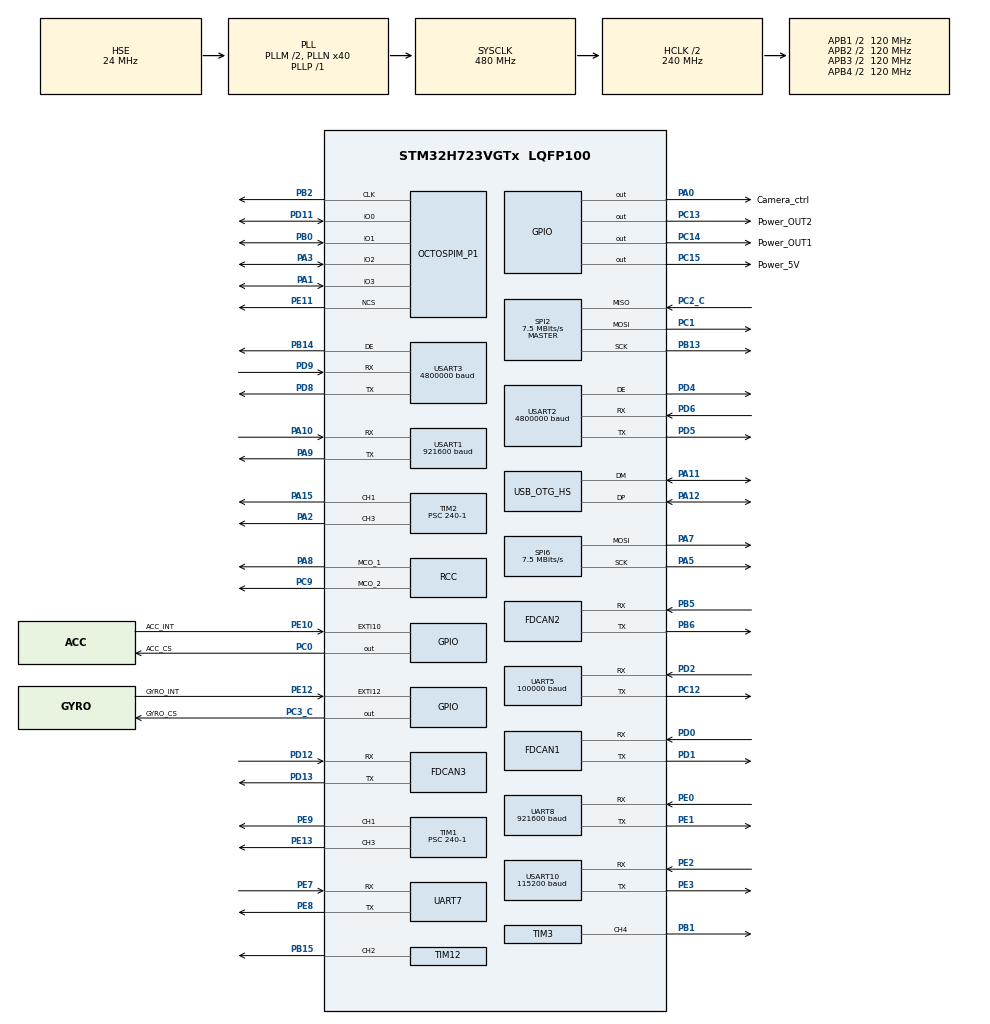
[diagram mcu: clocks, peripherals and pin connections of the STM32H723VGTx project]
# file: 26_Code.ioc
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CORTEX_M7.AccessPermission-Cortex_Memory_Protection_Unit_Region0_Settings=MPU_REGION_PRIV_RO
CORTEX_M7.AccessPermission-Cortex_Memory_Protection_Unit_Region1_Settings=MPU_REGION_FULL_ACCESS
CORTEX_M7.BaseAddress-Cortex_Memory_Protection_Unit_Region0_Settings=0x08000000
CORTEX_M7.BaseAddress-Cortex_Memory_Protection_Unit_Region1_Settings=0x20000000
CORTEX_M7.Enable-Cortex_Memory_Protection_Unit_Region0_Settings=MPU_REGION_ENABLE
CORTEX_M7.Enable-Cortex_Memory_Protection_Unit_Region1_Settings=MPU_REGION_ENABLE
CORTEX_M7.IsCacheable-Cortex_Memory_Protection_Unit_Region0_Settings=MPU_ACCESS_CACHEABLE
CORTEX_M7.MPU_Control=MPU_PRIVILEGED_DEFAULT
CORTEX_M7.Number-Cortex_Memory_Protection_Unit_Region1_Settings=MPU_REGION_NUMBER1
CORTEX_M7.Number-Cortex_Memory_Protection_Unit_Region2_Settings=MPU_REGION_NUMBER2
CORTEX_M7.Number-Cortex_Memory_Protection_Unit_Region3_Settings=MPU_REGION_NUMBER3
CORTEX_M7.Number-Cortex_Memory_Protection_Unit_Region4_Settings=MPU_REGION_NUMBER4
CORTEX_M7.Size-Cortex_Memory_Protection_Unit_Region0_Settings=MPU_REGION_SIZE_1MB
CORTEX_M7.Size-Cortex_Memory_Protection_Unit_Region1_Settings=MPU_REGION_SIZE_128MB
CORTEX_M7.SubRegionDisable-Cortex_Memory_Protection_Unit_Region1_Settings=0xEE
CORTEX_M7.TypeExtField-Cortex_Memory_Protection_Unit_Region0_Settings=MPU_TEX_LEVEL1
CORTEX_M7.TypeExtField-Cortex_Memory_Protection_Unit_Region1_Settings=MPU_TEX_LEVEL1
Dma.Request0=SPI2_RX
Dma.Request1=SPI2_TX
Dma.Request10=USART2_TX
Dma.Request11=USART1_RX
Dma.Request12=USART1_TX
Dma.Request13=UART8_RX
Dma.Request2=UART5_RX
Dma.Request3=UART7_RX
Dma.Request4=UART7_TX
Dma.Request5=USART10_RX
Dma.Request6=USART10_TX
Dma.Request7=USART3_RX
Dma.Request8=USART3_TX
Dma.Request9=USART2_RX
Dma.SPI2_RX.0.Direction=DMA_PERIPH_TO_MEMORY
Dma.SPI2_RX.0.EventEnable=DISABLE
Dma.SPI2_RX.0.FIFOMode=DMA_FIFOMODE_DISABLE
Dma.SPI2_RX.0.Instance=DMA1_Stream0
Dma.SPI2_RX.0.MemDataAlignment=DMA_MDATAALIGN_BYTE
Dma.SPI2_RX.0.MemInc=DMA_MINC_ENABLE
Dma.SPI2_RX.0.Mode=DMA_NORMAL
Dma.SPI2_RX.0.PeriphDataAlignment=DMA_PDATAALIGN_BYTE
Dma.SPI2_RX.0.PeriphInc=DMA_PINC_DISABLE
Dma.SPI2_RX.0.Polarity=HAL_DMAMUX_REQ_GEN_RISING
Dma.SPI2_RX.0.Priority=DMA_PRIORITY_VERY_HIGH
Dma.SPI2_RX.0.RequestNumber=1
Dma.SPI2_RX.0.SignalID=NONE
Dma.SPI2_RX.0.SyncEnable=DISABLE
Dma.SPI2_RX.0.SyncPolarity=HAL_DMAMUX_SYNC_NO_EVENT
Dma.SPI2_RX.0.SyncRequestNumber=1
Dma.SPI2_RX.0.SyncSignalID=NONE
Dma.SPI2_TX.1.Direction=DMA_MEMORY_TO_PERIPH
Dma.SPI2_TX.1.EventEnable=DISABLE
Dma.SPI2_TX.1.FIFOMode=DMA_FIFOMODE_DISABLE
Dma.SPI2_TX.1.Instance=DMA1_Stream1
Dma.SPI2_TX.1.MemDataAlignment=DMA_MDATAALIGN_BYTE
Dma.SPI2_TX.1.MemInc=DMA_MINC_ENABLE
Dma.SPI2_TX.1.Mode=DMA_NORMAL
Dma.SPI2_TX.1.PeriphDataAlignment=DMA_PDATAALIGN_BYTE
Dma.SPI2_TX.1.PeriphInc=DMA_PINC_DISABLE
Dma.SPI2_TX.1.Polarity=HAL_DMAMUX_REQ_GEN_RISING
Dma.SPI2_TX.1.Priority=DMA_PRIORITY_VERY_HIGH
Dma.SPI2_TX.1.RequestNumber=1
Dma.SPI2_TX.1.SignalID=NONE
Dma.SPI2_TX.1.SyncEnable=DISABLE
Dma.SPI2_TX.1.SyncPolarity=HAL_DMAMUX_SYNC_NO_EVENT
Dma.SPI2_TX.1.SyncRequestNumber=1
Dma.SPI2_TX.1.SyncSignalID=NONE
Dma.UART5_RX.2.Direction=DMA_PERIPH_TO_MEMORY
Dma.UART5_RX.2.EventEnable=DISABLE
Dma.UART5_RX.2.FIFOMode=DMA_FIFOMODE_DISABLE
Dma.UART5_RX.2.Instance=DMA1_Stream2
Dma.UART5_RX.2.MemDataAlignment=DMA_MDATAALIGN_BYTE
Dma.UART5_RX.2.MemInc=DMA_MINC_ENABLE
Dma.UART5_RX.2.Mode=DMA_NORMAL
Dma.UART5_RX.2.PeriphDataAlignment=DMA_PDATAALIGN_BYTE
Dma.UART5_RX.2.PeriphInc=DMA_PINC_DISABLE
Dma.UART5_RX.2.Polarity=HAL_DMAMUX_REQ_GEN_RISING
Dma.UART5_RX.2.Priority=DMA_PRIORITY_VERY_HIGH
Dma.UART5_RX.2.RequestNumber=1
Dma.UART5_RX.2.SignalID=NONE
Dma.UART5_RX.2.SyncEnable=DISABLE
Dma.UART5_RX.2.SyncPolarity=HAL_DMAMUX_SYNC_NO_EVENT
Dma.UART5_RX.2.SyncRequestNumber=1
Dma.UART5_RX.2.SyncSignalID=NONE
Dma.UART7_RX.3.Direction=DMA_PERIPH_TO_MEMORY
Dma.UART7_RX.3.EventEnable=DISABLE
Dma.UART7_RX.3.FIFOMode=DMA_FIFOMODE_DISABLE
Dma.UART7_RX.3.Instance=DMA1_Stream3
Dma.UART7_RX.3.MemDataAlignment=DMA_MDATAALIGN_BYTE
Dma.UART7_RX.3.MemInc=DMA_MINC_ENABLE
Dma.UART7_RX.3.Mode=DMA_NORMAL
Dma.UART7_RX.3.PeriphDataAlignment=DMA_PDATAALIGN_BYTE
Dma.UART7_RX.3.PeriphInc=DMA_PINC_DISABLE
Dma.UART7_RX.3.Polarity=HAL_DMAMUX_REQ_GEN_RISING
Dma.UART7_RX.3.Priority=DMA_PRIORITY_VERY_HIGH
Dma.UART7_RX.3.RequestNumber=1
Dma.UART7_RX.3.SignalID=NONE
Dma.UART7_RX.3.SyncEnable=DISABLE
Dma.UART7_RX.3.SyncPolarity=HAL_DMAMUX_SYNC_NO_EVENT
Dma.UART7_RX.3.SyncRequestNumber=1
Dma.UART7_RX.3.SyncSignalID=NONE
Dma.UART7_TX.4.Direction=DMA_MEMORY_TO_PERIPH
Dma.UART7_TX.4.EventEnable=DISABLE
Dma.UART7_TX.4.FIFOMode=DMA_FIFOMODE_DISABLE
Dma.UART7_TX.4.Instance=DMA1_Stream4
Dma.UART7_TX.4.MemDataAlignment=DMA_MDATAALIGN_BYTE
Dma.UART7_TX.4.MemInc=DMA_MINC_ENABLE
Dma.UART7_TX.4.Mode=DMA_NORMAL
Dma.UART7_TX.4.PeriphDataAlignment=DMA_PDATAALIGN_BYTE
Dma.UART7_TX.4.PeriphInc=DMA_PINC_DISABLE
Dma.UART7_TX.4.Polarity=HAL_DMAMUX_REQ_GEN_RISING
Dma.UART7_TX.4.Priority=DMA_PRIORITY_VERY_HIGH
Dma.UART7_TX.4.RequestNumber=1
Dma.UART7_TX.4.SignalID=NONE
Dma.UART7_TX.4.SyncEnable=DISABLE
Dma.UART7_TX.4.SyncPolarity=HAL_DMAMUX_SYNC_NO_EVENT
Dma.UART7_TX.4.SyncRequestNumber=1
Dma.UART7_TX.4.SyncSignalID=NONE
Dma.UART8_RX.13.Direction=DMA_PERIPH_TO_MEMORY
Dma.UART8_RX.13.EventEnable=DISABLE
Dma.UART8_RX.13.FIFOMode=DMA_FIFOMODE_DISABLE
Dma.UART8_RX.13.Instance=DMA2_Stream5
Dma.UART8_RX.13.MemDataAlignment=DMA_MDATAALIGN_BYTE
Dma.UART8_RX.13.MemInc=DMA_MINC_ENABLE
Dma.UART8_RX.13.Mode=DMA_NORMAL
Dma.UART8_RX.13.PeriphDataAlignment=DMA_PDATAALIGN_BYTE
Dma.UART8_RX.13.PeriphInc=DMA_PINC_DISABLE
Dma.UART8_RX.13.Polarity=HAL_DMAMUX_REQ_GEN_RISING
Dma.UART8_RX.13.Priority=DMA_PRIORITY_VERY_HIGH
Dma.UART8_RX.13.RequestNumber=1
Dma.UART8_RX.13.SignalID=NONE
Dma.UART8_RX.13.SyncEnable=DISABLE
Dma.UART8_RX.13.SyncPolarity=HAL_DMAMUX_SYNC_NO_EVENT
Dma.UART8_RX.13.SyncRequestNumber=1
Dma.UART8_RX.13.SyncSignalID=NONE
Dma.USART10_RX.5.Direction=DMA_PERIPH_TO_MEMORY
Dma.USART10_RX.5.EventEnable=DISABLE
Dma.USART10_RX.5.FIFOMode=DMA_FIFOMODE_DISABLE
Dma.USART10_RX.5.Instance=DMA1_Stream5
Dma.USART10_RX.5.MemDataAlignment=DMA_MDATAALIGN_BYTE
Dma.USART10_RX.5.MemInc=DMA_MINC_ENABLE
Dma.USART10_RX.5.Mode=DMA_NORMAL
Dma.USART10_RX.5.PeriphDataAlignment=DMA_PDATAALIGN_BYTE
Dma.USART10_RX.5.PeriphInc=DMA_PINC_DISABLE
Dma.USART10_RX.5.Polarity=HAL_DMAMUX_REQ_GEN_RISING
Dma.USART10_RX.5.Priority=DMA_PRIORITY_VERY_HIGH
Dma.USART10_RX.5.RequestNumber=1
Dma.USART10_RX.5.SignalID=NONE
Dma.USART10_RX.5.SyncEnable=DISABLE
Dma.USART10_RX.5.SyncPolarity=HAL_DMAMUX_SYNC_NO_EVENT
Dma.USART10_RX.5.SyncRequestNumber=1
Dma.USART10_RX.5.SyncSignalID=NONE
Dma.USART10_TX.6.Direction=DMA_MEMORY_TO_PERIPH
Dma.USART10_TX.6.EventEnable=DISABLE
Dma.USART10_TX.6.FIFOMode=DMA_FIFOMODE_DISABLE
Dma.USART10_TX.6.Instance=DMA1_Stream6
Dma.USART10_TX.6.MemDataAlignment=DMA_MDATAALIGN_BYTE
Dma.USART10_TX.6.MemInc=DMA_MINC_ENABLE
Dma.USART10_TX.6.Mode=DMA_NORMAL
Dma.USART10_TX.6.PeriphDataAlignment=DMA_PDATAALIGN_BYTE
Dma.USART10_TX.6.PeriphInc=DMA_PINC_DISABLE
Dma.USART10_TX.6.Polarity=HAL_DMAMUX_REQ_GEN_RISING
Dma.USART10_TX.6.Priority=DMA_PRIORITY_VERY_HIGH
Dma.USART10_TX.6.RequestNumber=1
Dma.USART10_TX.6.SignalID=NONE
Dma.USART10_TX.6.SyncEnable=DISABLE
Dma.USART10_TX.6.SyncPolarity=HAL_DMAMUX_SYNC_NO_EVENT
Dma.USART10_TX.6.SyncRequestNumber=1
Dma.USART10_TX.6.SyncSignalID=NONE
Dma.USART1_RX.11.Direction=DMA_PERIPH_TO_MEMORY
Dma.USART1_RX.11.EventEnable=DISABLE
Dma.USART1_RX.11.FIFOMode=DMA_FIFOMODE_DISABLE
Dma.USART1_RX.11.Instance=DMA2_Stream3
Dma.USART1_RX.11.MemDataAlignment=DMA_MDATAALIGN_BYTE
Dma.USART1_RX.11.MemInc=DMA_MINC_ENABLE
Dma.USART1_RX.11.Mode=DMA_NORMAL
Dma.USART1_RX.11.PeriphDataAlignment=DMA_PDATAALIGN_BYTE
Dma.USART1_RX.11.PeriphInc=DMA_PINC_DISABLE
Dma.USART1_RX.11.Polarity=HAL_DMAMUX_REQ_GEN_RISING
Dma.USART1_RX.11.Priority=DMA_PRIORITY_LOW
Dma.USART1_RX.11.RequestNumber=1
Dma.USART1_RX.11.SignalID=NONE
Dma.USART1_RX.11.SyncEnable=DISABLE
Dma.USART1_RX.11.SyncPolarity=HAL_DMAMUX_SYNC_NO_EVENT
Dma.USART1_RX.11.SyncRequestNumber=1
Dma.USART1_RX.11.SyncSignalID=NONE
Dma.USART1_TX.12.Direction=DMA_MEMORY_TO_PERIPH
Dma.USART1_TX.12.EventEnable=DISABLE
Dma.USART1_TX.12.FIFOMode=DMA_FIFOMODE_DISABLE
Dma.USART1_TX.12.Instance=DMA2_Stream4
Dma.USART1_TX.12.MemDataAlignment=DMA_MDATAALIGN_BYTE
Dma.USART1_TX.12.MemInc=DMA_MINC_ENABLE
Dma.USART1_TX.12.Mode=DMA_NORMAL
Dma.USART1_TX.12.PeriphDataAlignment=DMA_PDATAALIGN_BYTE
Dma.USART1_TX.12.PeriphInc=DMA_PINC_DISABLE
Dma.USART1_TX.12.Polarity=HAL_DMAMUX_REQ_GEN_RISING
Dma.USART1_TX.12.Priority=DMA_PRIORITY_LOW
Dma.USART1_TX.12.RequestNumber=1
Dma.USART1_TX.12.SignalID=NONE
Dma.USART1_TX.12.SyncEnable=DISABLE
Dma.USART1_TX.12.SyncPolarity=HAL_DMAMUX_SYNC_NO_EVENT
Dma.USART1_TX.12.SyncRequestNumber=1
Dma.USART1_TX.12.SyncSignalID=NONE
Dma.USART2_RX.9.Direction=DMA_PERIPH_TO_MEMORY
Dma.USART2_RX.9.EventEnable=DISABLE
Dma.USART2_RX.9.FIFOMode=DMA_FIFOMODE_DISABLE
Dma.USART2_RX.9.Instance=DMA2_Stream1
Dma.USART2_RX.9.MemDataAlignment=DMA_MDATAALIGN_BYTE
Dma.USART2_RX.9.MemInc=DMA_MINC_ENABLE
Dma.USART2_RX.9.Mode=DMA_NORMAL
Dma.USART2_RX.9.PeriphDataAlignment=DMA_PDATAALIGN_BYTE
Dma.USART2_RX.9.PeriphInc=DMA_PINC_DISABLE
Dma.USART2_RX.9.Polarity=HAL_DMAMUX_REQ_GEN_RISING
Dma.USART2_RX.9.Priority=DMA_PRIORITY_VERY_HIGH
Dma.USART2_RX.9.RequestNumber=1
Dma.USART2_RX.9.SignalID=NONE
Dma.USART2_RX.9.SyncEnable=DISABLE
Dma.USART2_RX.9.SyncPolarity=HAL_DMAMUX_SYNC_NO_EVENT
Dma.USART2_RX.9.SyncRequestNumber=1
Dma.USART2_RX.9.SyncSignalID=NONE
Dma.USART2_TX.10.Direction=DMA_MEMORY_TO_PERIPH
Dma.USART2_TX.10.EventEnable=DISABLE
Dma.USART2_TX.10.FIFOMode=DMA_FIFOMODE_DISABLE
Dma.USART2_TX.10.Instance=DMA2_Stream2
Dma.USART2_TX.10.MemDataAlignment=DMA_MDATAALIGN_BYTE
Dma.USART2_TX.10.MemInc=DMA_MINC_ENABLE
Dma.USART2_TX.10.Mode=DMA_NORMAL
Dma.USART2_TX.10.PeriphDataAlignment=DMA_PDATAALIGN_BYTE
Dma.USART2_TX.10.PeriphInc=DMA_PINC_DISABLE
Dma.USART2_TX.10.Polarity=HAL_DMAMUX_REQ_GEN_RISING
Dma.USART2_TX.10.Priority=DMA_PRIORITY_VERY_HIGH
Dma.USART2_TX.10.RequestNumber=1
Dma.USART2_TX.10.SignalID=NONE
Dma.USART2_TX.10.SyncEnable=DISABLE
Dma.USART2_TX.10.SyncPolarity=HAL_DMAMUX_SYNC_NO_EVENT
Dma.USART2_TX.10.SyncRequestNumber=1
Dma.USART2_TX.10.SyncSignalID=NONE
Dma.USART3_RX.7.Direction=DMA_PERIPH_TO_MEMORY
Dma.USART3_RX.7.EventEnable=DISABLE
Dma.USART3_RX.7.FIFOMode=DMA_FIFOMODE_DISABLE
Dma.USART3_RX.7.Instance=DMA1_Stream7
Dma.USART3_RX.7.MemDataAlignment=DMA_MDATAALIGN_BYTE
Dma.USART3_RX.7.MemInc=DMA_MINC_ENABLE
Dma.USART3_RX.7.Mode=DMA_NORMAL
Dma.USART3_RX.7.PeriphDataAlignment=DMA_PDATAALIGN_BYTE
Dma.USART3_RX.7.PeriphInc=DMA_PINC_DISABLE
Dma.USART3_RX.7.Polarity=HAL_DMAMUX_REQ_GEN_RISING
Dma.USART3_RX.7.Priority=DMA_PRIORITY_VERY_HIGH
Dma.USART3_RX.7.RequestNumber=1
Dma.USART3_RX.7.SignalID=NONE
Dma.USART3_RX.7.SyncEnable=DISABLE
Dma.USART3_RX.7.SyncPolarity=HAL_DMAMUX_SYNC_NO_EVENT
Dma.USART3_RX.7.SyncRequestNumber=1
Dma.USART3_RX.7.SyncSignalID=NONE
Dma.USART3_TX.8.Direction=DMA_MEMORY_TO_PERIPH
Dma.USART3_TX.8.EventEnable=DISABLE
Dma.USART3_TX.8.FIFOMode=DMA_FIFOMODE_DISABLE
Dma.USART3_TX.8.Instance=DMA2_Stream0
Dma.USART3_TX.8.MemDataAlignment=DMA_MDATAALIGN_BYTE
Dma.USART3_TX.8.MemInc=DMA_MINC_ENABLE
Dma.USART3_TX.8.Mode=DMA_NORMAL
Dma.USART3_TX.8.PeriphDataAlignment=DMA_PDATAALIGN_BYTE
Dma.USART3_TX.8.PeriphInc=DMA_PINC_DISABLE
Dma.USART3_TX.8.Polarity=HAL_DMAMUX_REQ_GEN_RISING
Dma.USART3_TX.8.Priority=DMA_PRIORITY_VERY_HIGH
Dma.USART3_TX.8.RequestNumber=1
Dma.USART3_TX.8.SignalID=NONE
Dma.USART3_TX.8.SyncEnable=DISABLE
Dma.USART3_TX.8.SyncPolarity=HAL_DMAMUX_SYNC_NO_EVENT
Dma.USART3_TX.8.SyncRequestNumber=1
Dma.USART3_TX.8.SyncSignalID=NONE
FDCAN1.AutoRetransmission=DISABLE
FDCAN1.CalculateBaudRateNominal=1000000
FDCAN1.CalculateTimeBitNominal=1000
FDCAN1.CalculateTimeQuantumNominal=25.0
FDCAN1.DataPrescaler=3
FDCAN1.DataSyncJumpWidth=10
FDCAN1.DataTimeSeg1=29
FDCAN1.DataTimeSeg2=10
FDCAN1.NominalPrescaler=3
FDCAN1.NominalSyncJumpWidth=10
FDCAN1.NominalTimeSeg1=29
FDCAN1.NominalTimeSeg2=10
FDCAN1.RxFifo0ElmtsNbr=4
FDCAN1.StdFiltersNbr=1
FDCAN1.TxFifoQueueElmtsNbr=32
FDCAN2.AutoRetransmission=ENABLE
FDCAN2.CalculateBaudRateNominal=1000000
FDCAN2.CalculateTimeBitNominal=1000
FDCAN2.CalculateTimeQuantumNominal=25.0
FDCAN2.DataPrescaler=3
FDCAN2.DataSyncJumpWidth=10
FDCAN2.DataTimeSeg1=29
FDCAN2.DataTimeSeg2=10
FDCAN2.MessageRAMOffset=0x406
FDCAN2.NominalPrescaler=3
FDCAN2.NominalSyncJumpWidth=10
FDCAN2.NominalTimeSeg1=29
FDCAN2.NominalTimeSeg2=10
FDCAN2.RxFifo0ElmtsNbr=16
FDCAN2.StdFiltersNbr=1
FDCAN2.TxFifoQueueElmtsNbr=32
FDCAN3.AutoRetransmission=DISABLE
FDCAN3.CalculateBaudRateNominal=1000000
FDCAN3.CalculateTimeBitNominal=1000
FDCAN3.CalculateTimeQuantumNominal=25.0
FDCAN3.DataPrescaler=3
FDCAN3.DataSyncJumpWidth=10
FDCAN3.DataTimeSeg1=29
FDCAN3.DataTimeSeg2=10
FDCAN3.MessageRAMOffset=0x812
FDCAN3.NominalPrescaler=3
FDCAN3.NominalSyncJumpWidth=10
FDCAN3.NominalTimeSeg1=29
FDCAN3.NominalTimeSeg2=10
FDCAN3.RxFifo0ElmtsNbr=4
FDCAN3.StdFiltersNbr=1
FDCAN3.TxFifoQueueElmtsNbr=32
FREERTOS.Tasks01=Remote_control,24,512,Remote_control_Task,Default,NULL,Dynamic,NULL,NULL;Gimbal,8,512,Gimbal_Task,Default,NULL,Dynamic,NULL,NULL;Chassis,8,1024,Chassis_Task,Default,NULL,Dynamic,NULL,NULL;Motor_control,8,256,Motor_control_Task,Default,NULL,Dynamic,NULL,NULL;Shoot,8,256,Shoot_Task,Default,NULL,Dynamic,NULL,NULL;Referee,8,512,Referee_Task,Default,NULL,Dynamic,NULL,NULL;Log_and_debug,8,256,Log_and_debug_Task,Default,NULL,Dynamic,NULL,NULL
FREERTOS.configENABLE_FPU=1
FREERTOS.configUSE_IDLE_HOOK=1
Mcu.Family=STM32H7
Mcu.Name=STM32H723VGTx
Mcu.Package=LQFP100
NVIC.DMA1_Stream0_IRQn=true\:5\:0\:false\:false\:true\:true\:false\:true\:true
NVIC.DMA1_Stream1_IRQn=true\:5\:0\:false\:false\:true\:true\:false\:true\:true
NVIC.DMA1_Stream2_IRQn=true\:5\:0\:false\:false\:true\:true\:false\:true\:true
NVIC.DMA1_Stream3_IRQn=true\:5\:0\:true\:false\:true\:true\:false\:true\:true
NVIC.DMA1_Stream4_IRQn=true\:5\:0\:true\:false\:true\:true\:false\:true\:true
NVIC.DMA1_Stream5_IRQn=true\:5\:0\:false\:false\:true\:true\:false\:true\:true
NVIC.DMA1_Stream6_IRQn=true\:5\:0\:false\:false\:true\:true\:false\:true\:true
NVIC.DMA1_Stream7_IRQn=true\:5\:0\:false\:false\:true\:true\:false\:true\:true
NVIC.DMA2_Stream0_IRQn=true\:5\:0\:false\:false\:true\:true\:false\:true\:true
NVIC.DMA2_Stream1_IRQn=true\:5\:0\:false\:false\:true\:true\:false\:true\:true
NVIC.DMA2_Stream2_IRQn=true\:5\:0\:false\:false\:true\:true\:false\:true\:true
NVIC.DMA2_Stream3_IRQn=true\:5\:0\:false\:false\:true\:true\:false\:true\:true
NVIC.DMA2_Stream4_IRQn=true\:5\:0\:false\:false\:true\:true\:false\:true\:true
NVIC.DMA2_Stream5_IRQn=true\:5\:0\:false\:false\:true\:true\:false\:true\:true
NVIC.FDCAN1_IT0_IRQn=true\:5\:0\:false\:false\:true\:true\:true\:true\:true
NVIC.FDCAN1_IT1_IRQn=true\:5\:0\:false\:false\:true\:true\:true\:true\:true
NVIC.FDCAN2_IT0_IRQn=true\:5\:0\:false\:false\:true\:true\:true\:true\:true
NVIC.FDCAN2_IT1_IRQn=true\:5\:0\:false\:false\:true\:true\:true\:true\:true
NVIC.FDCAN3_IT0_IRQn=true\:5\:0\:false\:false\:true\:true\:true\:true\:true
NVIC.FDCAN3_IT1_IRQn=true\:5\:0\:false\:false\:true\:true\:true\:true\:true
NVIC.OTG_HS_IRQn=true\:5\:0\:false\:false\:true\:true\:true\:true\:true
NVIC.PriorityGroup=NVIC_PRIORITYGROUP_4
NVIC.SPI2_IRQn=true\:5\:0\:false\:false\:true\:true\:true\:true\:true
NVIC.TIM23_IRQn=true\:15\:0\:true\:false\:true\:false\:false\:true\:true
NVIC.TIM8_BRK_TIM12_IRQn=true\:5\:0\:false\:false\:true\:true\:true\:true\:true
NVIC.TIM8_TRG_COM_TIM14_IRQn=true\:5\:0\:false\:false\:true\:true\:true\:true\:true
NVIC.TIM8_UP_TIM13_IRQn=true\:5\:0\:false\:false\:true\:true\:true\:true\:true
NVIC.TimeBase=TIM23_IRQn
NVIC.TimeBaseIP=TIM23
NVIC.UART5_IRQn=true\:5\:0\:false\:false\:true\:true\:true\:true\:true
NVIC.UART7_IRQn=true\:5\:0\:true\:false\:true\:true\:true\:true\:true
NVIC.UART8_IRQn=true\:5\:0\:false\:false\:true\:true\:true\:true\:true
NVIC.USART10_IRQn=true\:5\:0\:false\:false\:true\:true\:true\:true\:true
NVIC.USART1_IRQn=true\:5\:0\:false\:false\:true\:true\:true\:true\:true
NVIC.USART2_IRQn=true\:5\:0\:false\:false\:true\:true\:true\:true\:true
NVIC.USART3_IRQn=true\:5\:0\:false\:false\:true\:true\:true\:true\:true
OCTOSPI2.ClockMode=HAL_OSPI_CLOCK_MODE_3
OCTOSPI2.ClockPrescaler=3
OCTOSPI2.DeviceSize=23
OCTOSPI2.DeviceType=SPI_DEVICE_FLASH
OCTOSPI2.FifoThreshold=8
OCTOSPI2.SampleShifting=HAL_OSPI_SAMPLE_SHIFTING_HALFCYCLE
PA0.GPIO_Label=Camera_ctrl
PA0.GPIO_PuPd=GPIO_PULLDOWN
PA0.GPIO_Speed=GPIO_SPEED_FREQ_VERY_HIGH
PA0.PinState=GPIO_PIN_SET
PA0.Signal=GPIO_Output
PA1.Mode=OCTOSPI2_IOL_Port1L
PA1.Signal=OCTOSPIM_P1_IO3
PA10.Mode=Asynchronous
PA10.Signal=USART1_RX
PA11.Mode=Device_Only_FS
PA11.Signal=USB_OTG_HS_DM
PA12.Mode=Device_Only_FS
PA12.Signal=USB_OTG_HS_DP
PA13(JTMS/SWDIO).Mode=Serial_Wire
PA13(JTMS/SWDIO).Signal=DEBUG_JTMS-SWDIO
PA14(JTCK/SWCLK).Mode=Serial_Wire
PA14(JTCK/SWCLK).Signal=DEBUG_JTCK-SWCLK
PA15(JTDI).Signal=S_TIM2_CH1_ETR
PA2.Signal=S_TIM2_CH3
PA3.Mode=OCTOSPI2_IOL_Port1L
PA3.Signal=OCTOSPIM_P1_IO2
PA5.GPIO_Speed=GPIO_SPEED_FREQ_VERY_HIGH
PA5.Mode=TX_Only_Simplex_Unidirect_Master
PA5.Signal=SPI6_SCK
PA7.Mode=TX_Only_Simplex_Unidirect_Master
PA7.Signal=SPI6_MOSI
PA8.Mode=Clock-out-1
PA8.Signal=RCC_MCO_1
PA9.Mode=Asynchronous
PA9.Signal=USART1_TX
PB0.Mode=OCTOSPI2_IOL_Port1L
PB0.Signal=OCTOSPIM_P1_IO1
PB1.Signal=S_TIM3_CH4
PB13.Mode=Full_Duplex_Master
PB13.Signal=SPI2_SCK
PB14.Mode=Hardware Flow Control (RS485)
PB14.Signal=USART3_DE
PB15.Signal=S_TIM12_CH2
PB2.Mode=O2_P1_CLK
PB2.Signal=OCTOSPIM_P1_CLK
PB5.Mode=FDCAN_Activate
PB5.Signal=FDCAN2_RX
PB6.Mode=FDCAN_Activate
PB6.Signal=FDCAN2_TX
PC0.GPIO_Label=ACC_CS
PC0.GPIO_Speed=GPIO_SPEED_FREQ_VERY_HIGH
PC0.PinState=GPIO_PIN_SET
PC0.Signal=GPIO_Output
PC1.Mode=Full_Duplex_Master
PC1.Signal=SPI2_MOSI
PC12.Mode=Asynchronous
PC12.Signal=UART5_TX
PC13.GPIO_Label=Power_OUT2
PC13.PinState=GPIO_PIN_SET
PC13.Signal=GPIO_Output
PC14-OSC32_IN.GPIO_Label=Power_OUT1
PC14-OSC32_IN.PinState=GPIO_PIN_SET
PC14-OSC32_IN.Signal=GPIO_Output
PC15-OSC32_OUT.GPIO_Label=Power_5V
PC15-OSC32_OUT.Signal=GPIO_Output
PC2_C.Mode=Full_Duplex_Master
PC2_C.Signal=SPI2_MISO
PC3_C.GPIO_Label=GYRO_CS
PC3_C.GPIO_Speed=GPIO_SPEED_FREQ_VERY_HIGH
PC3_C.PinState=GPIO_PIN_SET
PC3_C.Signal=GPIO_Output
PC9.Mode=Clock-out-2
PC9.Signal=RCC_MCO_2
PD0.Mode=FDCAN_Activate
PD0.Signal=FDCAN1_RX
PD1.Mode=FDCAN_Activate
PD1.Signal=FDCAN1_TX
PD11.Mode=OCTOSPI2_IOL_Port1L
PD11.Signal=OCTOSPIM_P1_IO0
PD12.Mode=FDCAN_Activate
PD12.Signal=FDCAN3_RX
PD13.Mode=FDCAN_Activate
PD13.Signal=FDCAN3_TX
PD2.Mode=Asynchronous
PD2.Signal=UART5_RX
PD4.Mode=Hardware Flow Control (RS485)
PD4.Signal=USART2_DE
PD5.Mode=Asynchronous
PD5.Signal=USART2_TX
PD6.Mode=Asynchronous
PD6.Signal=USART2_RX
PD8.Mode=Asynchronous
PD8.Signal=USART3_TX
PD9.Mode=Asynchronous
PD9.Signal=USART3_RX
PE0.GPIO_Speed=GPIO_SPEED_FREQ_VERY_HIGH
PE0.Mode=Asynchronous
PE0.Signal=UART8_RX
PE1.GPIO_Speed=GPIO_SPEED_FREQ_VERY_HIGH
PE1.Mode=Asynchronous
PE1.Signal=UART8_TX
PE10.GPIO_Label=ACC_INT
PE10.Signal=GPXTI10
PE11.Mode=OCTOSPI2_Port1_NCS
PE11.Signal=OCTOSPIM_P1_NCS
PE12.GPIO_Label=GYRO_INT
PE12.Signal=GPXTI12
PE13.Signal=S_TIM1_CH3
PE2.GPIO_Speed=GPIO_SPEED_FREQ_VERY_HIGH
PE2.Mode=Asynchronous
PE2.Signal=USART10_RX
PE3.GPIO_Speed=GPIO_SPEED_FREQ_VERY_HIGH
PE3.Mode=Asynchronous
PE3.Signal=USART10_TX
PE7.GPIO_Speed=GPIO_SPEED_FREQ_VERY_HIGH
PE7.Mode=Asynchronous
PE7.Signal=UART7_RX
PE8.GPIO_Speed=GPIO_SPEED_FREQ_VERY_HIGH
PE8.Mode=Asynchronous
PE8.Signal=UART7_TX
PE9.Signal=S_TIM1_CH1
PH0-OSC_IN.Mode=HSE-External-Oscillator
PH0-OSC_IN.Signal=RCC_OSC_IN
PH1-OSC_OUT.Mode=HSE-External-Oscillator
PH1-OSC_OUT.Signal=RCC_OSC_OUT
ProjectManager.HeapSize=0x200
ProjectManager.StackSize=0x400
ProjectManager.TargetToolchain=CMake
RCC.ADCFreq_Value=48375000
RCC.APB1Freq_Value=120000000
RCC.APB2Freq_Value=120000000
RCC.APB3Freq_Value=120000000
RCC.APB4Freq_Value=120000000
RCC.CortexFreq_Value=480000000
RCC.D1PPRE=RCC_APB3_DIV2
RCC.D2PPRE1=RCC_APB1_DIV2
RCC.D2PPRE2=RCC_APB2_DIV2
RCC.D3PPRE=RCC_APB4_DIV2
RCC.DIVM1=2
RCC.DIVN1=40
RCC.DIVP1=1
RCC.DIVQ1=4
RCC.HCLKFreq_Value=240000000
RCC.HPRE=RCC_HCLK_DIV2
RCC.HSE_VALUE=24000000
RCC.PLLFRACN=0
RCC.PLLSourceVirtual=RCC_PLLSOURCE_HSE
RCC.SYSCLKFreq_VALUE=480000000
RCC.SYSCLKSource=RCC_SYSCLKSOURCE_PLLCLK
RCC.USBCLockSelection=RCC_USBCLKSOURCE_HSI48
RCC.USBFreq_Value=48000000
SH.S_TIM12_CH2.0=TIM12_CH2,PWM Generation2 CH2
SH.S_TIM1_CH1.0=TIM1_CH1,PWM Generation1 CH1
SH.S_TIM1_CH3.0=TIM1_CH3,PWM Generation3 CH3
SH.S_TIM2_CH1_ETR.0=TIM2_CH1,PWM Generation1 CH1
SH.S_TIM2_CH3.0=TIM2_CH3,PWM Generation3 CH3
SH.S_TIM3_CH4.0=TIM3_CH4,PWM Generation4 CH4
SPI2.BaudRatePrescaler=SPI_BAUDRATEPRESCALER_16
SPI2.CLKPhase=SPI_PHASE_2EDGE
SPI2.CLKPolarity=SPI_POLARITY_HIGH
SPI2.CalculateBaudRate=7.5 MBits/s
SPI2.DataSize=SPI_DATASIZE_8BIT
SPI2.Direction=SPI_DIRECTION_2LINES
SPI2.Mode=SPI_MODE_MASTER
SPI2.VirtualType=VM_MASTER
SPI6.BaudRatePrescaler=SPI_BAUDRATEPRESCALER_16
SPI6.CLKPhase=SPI_PHASE_2EDGE
SPI6.CLKPolarity=SPI_POLARITY_HIGH
SPI6.CalculateBaudRate=7.5 MBits/s
SPI6.DataSize=SPI_DATASIZE_8BIT
SPI6.Direction=SPI_DIRECTION_2LINES_TXONLY
SPI6.Mode=SPI_MODE_MASTER
SPI6.VirtualType=VM_MASTER
TIM1.Channel-PWM\ Generation1\ CH1=TIM_CHANNEL_1
TIM1.Channel-PWM\ Generation3\ CH3=TIM_CHANNEL_3
TIM1.Period=2000-1
TIM1.Prescaler=240-1
TIM12.Channel-PWM\ Generation2\ CH2=TIM_CHANNEL_2
TIM12.Period=250-1
TIM12.Prescaler=240-1
TIM13.AutoReloadPreload=TIM_AUTORELOAD_PRELOAD_ENABLE
TIM13.Period=100-1
TIM13.Prescaler=2400-1
TIM14.Period=500-1
TIM14.Prescaler=2400-1
TIM2.Channel-PWM\ Generation1\ CH1=TIM_CHANNEL_1
TIM2.Channel-PWM\ Generation3\ CH3=TIM_CHANNEL_3
TIM2.Period=2000-1
TIM2.Prescaler=240-1
TIM3.Channel-PWM\ Generation4\ CH4=TIM_CHANNEL_4
TIM3.Period=20000-1
TIM3.Prescaler=240-1
UART5.BaudRate=100000
UART5.Parity=PARITY_EVEN
UART5.StopBits=UART_STOPBITS_1
UART5.WordLength=WORDLENGTH_9B
UART8.BaudRate=921600
UART8.Mode=MODE_RX
USART1.BaudRate=921600
USART1.VirtualMode-Asynchronous=VM_ASYNC
USART10.BaudRate=115200
USART10.VirtualMode=VM_ASYNC
USART2.BaudRate=4800000
USART2.VirtualMode-Asynchronous=VM_ASYNC
USART2.VirtualMode-Hardware\ Flow\ Control\ (RS485)=VM_ASYNC
USART3.BaudRate=4800000
USART3.VirtualMode-Asynchronous=VM_ASYNC
USART3.VirtualMode-Hardware\ Flow\ Control\ (RS485)=VM_ASYNC
USB_DEVICE.CLASS_NAME_HS=CDC
USB_DEVICE.VirtualMode=Cdc
USB_DEVICE.VirtualModeHS=Cdc_HS
USB_OTG_HS.VirtualMode-Device_Only_FS=Device_Only_FS
VP_FREERTOS_VS_CMSIS_V2.Mode=CMSIS_V2
VP_IWDG1_VS_IWDG.Mode=IWDG_Activate
VP_MEMORYMAP_VS_MEMORYMAP.Mode=CurAppReg
VP_OCTOSPI2_VS_quad.Mode=quad_mode
VP_SYS_VS_tim23.Mode=TIM23
VP_TIM12_VS_ClockSourceINT.Mode=Internal
VP_TIM13_VS_ClockSourceINT.Mode=Enable_Timer
VP_TIM14_VS_ClockSourceINT.Mode=Enable_Timer
VP_USB_DEVICE_VS_USB_DEVICE_CDC_HS.Mode=CDC_HS
board=custom

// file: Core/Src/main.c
/* USER CODE BEGIN Header */
/**
 ******************************************************************************
 * @file           : main.c
 * @brief          : Main program body
 ******************************************************************************
 * @attention
 *
 * Copyright (c) 2025 STMicroelectronics.
 * All rights reserved.
 *
 * This software is licensed under terms that can be found in the LICENSE file
 * in the root directory of this software component.
 * If no LICENSE file comes with this software, it is provided AS-IS.
 *
 ******************************************************************************
 */
/* USER CODE END Header */
#include "main.h"
#include "cmsis_os.h"
#include "dma.h"
#include "fdcan.h"
#include "iwdg.h"
#include "octospi.h"
#include "spi.h"
#include "tim.h"
#include "usart.h"
#include "usb_device.h"
#include "gpio.h"

/* USER CODE BEGIN Includes */
#include "UART_data_txrx.h"
#include "CAN_receive_send.h"
#include "motor.h"
#include "LED.h"
#include "Chassis_omni.h"
#include "Global_status.h"

/* USER CODE END Includes */

/* USER CODE BEGIN PV */
static uint32_t tick_ms = 0;
/* USER CODE END PV */

void SystemClock_Config(void);
static void MPU_Config(void);
void MX_FREERTOS_Init(void);

/* USER CODE BEGIN 0 */
HAL_StatusTypeDef ITsta;
extern DMA_HandleTypeDef hdma_uart7_rx;
/* USER CODE END 0 */

int main(void)
  {

  /* MPU Configuration--------------------------------------------------------*/
  MPU_Config();

  /* MCU Configuration--------------------------------------------------------*/

  /* Reset of all peripherals, Initializes the Flash interface and the Systick. */
  HAL_Init();

  /* Configure the system clock */
  SystemClock_Config();

  /* Initialize all configured peripherals */
  MX_GPIO_Init();
  MX_DMA_Init();
  MX_FDCAN1_Init();
  MX_FDCAN2_Init();
  MX_SPI2_Init();
  MX_TIM3_Init();
  MX_TIM13_Init();
  MX_TIM14_Init();
  MX_SPI6_Init();
  MX_UART5_Init();
  MX_UART7_Init();
  MX_USART10_UART_Init();
  MX_FDCAN3_Init();
  MX_OCTOSPI2_Init();
  MX_IWDG1_Init();
  MX_USART2_UART_Init();
  MX_USART3_UART_Init();
  MX_USART1_UART_Init();
  MX_TIM12_Init();
  MX_TIM1_Init();
  MX_TIM2_Init();
  MX_UART8_Init();
  /* USER CODE BEGIN 2 */
  HAL_IWDG_Refresh(&hiwdg1);
  /*INIT*/
  Uart_Init();
  Can_Init();

  HAL_IWDG_Refresh(&hiwdg1);
  HAL_GPIO_WritePin(Power_5V_GPIO_Port, Power_5V_Pin, GPIO_PIN_SET);
  HAL_GPIO_WritePin(Camera_ctrl_GPIO_Port, Camera_ctrl_Pin, GPIO_PIN_SET);
  HAL_TIM_Base_Start_IT(&htim14);
  HAL_TIM_Base_Start_IT(&htim13);

  /* USER CODE END 2 */

  /* Init scheduler */
  osKernelInitialize();  /* Call init function for freertos objects (in cmsis_os2.c) */
  MX_FREERTOS_Init();

  /* Start scheduler */
  osKernelStart();

  /* We should never get here as control is now taken by the scheduler */

  /* Infinite loop */
  while (1)
  {

  }
}

void SystemClock_Config(void)
{
  RCC_OscInitTypeDef RCC_OscInitStruct = {0};
  RCC_ClkInitTypeDef RCC_ClkInitStruct = {0};

  /** Supply configuration update enable
  */
  HAL_PWREx_ConfigSupply(PWR_LDO_SUPPLY);

  /** Configure the main internal regulator output voltage
  */
  __HAL_PWR_VOLTAGESCALING_CONFIG(PWR_REGULATOR_VOLTAGE_SCALE0);

  while(!__HAL_PWR_GET_FLAG(PWR_FLAG_VOSRDY)) {}

  /** Initializes the RCC Oscillators according to the specified parameters
  * in the RCC_OscInitTypeDef structure.
  */
  RCC_OscInitStruct.OscillatorType = RCC_OSCILLATORTYPE_HSI48|RCC_OSCILLATORTYPE_HSI
                              |RCC_OSCILLATORTYPE_LSI|RCC_OSCILLATORTYPE_HSE;
  RCC_OscInitStruct.HSEState = RCC_HSE_ON;
  RCC_OscInitStruct.HSIState = RCC_HSI_DIV1;
  RCC_OscInitStruct.HSICalibrationValue = 64;
  RCC_OscInitStruct.LSIState = RCC_LSI_ON;
  RCC_OscInitStruct.HSI48State = RCC_HSI48_ON;
  RCC_OscInitStruct.PLL.PLLState = RCC_PLL_ON;
  RCC_OscInitStruct.PLL.PLLSource = RCC_PLLSOURCE_HSE;
  RCC_OscInitStruct.PLL.PLLM = 2;
  RCC_OscInitStruct.PLL.PLLN = 40;
  RCC_OscInitStruct.PLL.PLLP = 1;
  RCC_OscInitStruct.PLL.PLLQ = 4;
  RCC_OscInitStruct.PLL.PLLR = 2;
  RCC_OscInitStruct.PLL.PLLRGE = RCC_PLL1VCIRANGE_3;
  RCC_OscInitStruct.PLL.PLLVCOSEL = RCC_PLL1VCOWIDE;
  RCC_OscInitStruct.PLL.PLLFRACN = 0;
  if (HAL_RCC_OscConfig(&RCC_OscInitStruct) != HAL_OK)
  {
    Error_Handler();
  }

  /** Initializes the CPU, AHB and APB buses clocks
  */
  RCC_ClkInitStruct.ClockType = RCC_CLOCKTYPE_HCLK|RCC_CLOCKTYPE_SYSCLK
                              |RCC_CLOCKTYPE_PCLK1|RCC_CLOCKTYPE_PCLK2
                              |RCC_CLOCKTYPE_D3PCLK1|RCC_CLOCKTYPE_D1PCLK1;
  RCC_ClkInitStruct.SYSCLKSource = RCC_SYSCLKSOURCE_PLLCLK;
  RCC_ClkInitStruct.SYSCLKDivider = RCC_SYSCLK_DIV1;
  RCC_ClkInitStruct.AHBCLKDivider = RCC_HCLK_DIV2;
  RCC_ClkInitStruct.APB3CLKDivider = RCC_APB3_DIV2;
  RCC_ClkInitStruct.APB1CLKDivider = RCC_APB1_DIV2;
  RCC_ClkInitStruct.APB2CLKDivider = RCC_APB2_DIV2;
  RCC_ClkInitStruct.APB4CLKDivider = RCC_APB4_DIV2;

  if (HAL_RCC_ClockConfig(&RCC_ClkInitStruct, FLASH_LATENCY_3) != HAL_OK)
  {
    Error_Handler();
  }
  HAL_RCC_MCOConfig(RCC_MCO1, RCC_MCO1SOURCE_HSI, RCC_MCODIV_1);
  HAL_RCC_MCOConfig(RCC_MCO2, RCC_MCO2SOURCE_SYSCLK, RCC_MCODIV_1);
}

 /* MPU Configuration */

void MPU_Config(void)
{
  MPU_Region_InitTypeDef MPU_InitStruct = {0};

  /* Disables the MPU */
  HAL_MPU_Disable();

  /** Initializes and configures the Region and the memory to be protected
  */
  MPU_InitStruct.Enable = MPU_REGION_ENABLE;
  MPU_InitStruct.Number = MPU_REGION_NUMBER0;
  MPU_InitStruct.BaseAddress = 0x08000000;
  MPU_InitStruct.Size = MPU_REGION_SIZE_1MB;
  MPU_InitStruct.SubRegionDisable = 0x0;
  MPU_InitStruct.TypeExtField = MPU_TEX_LEVEL1;
  MPU_InitStruct.AccessPermission = MPU_REGION_PRIV_RO;
  MPU_InitStruct.DisableExec = MPU_INSTRUCTION_ACCESS_ENABLE;
  MPU_InitStruct.IsShareable = MPU_ACCESS_NOT_SHAREABLE;
  MPU_InitStruct.IsCacheable = MPU_ACCESS_CACHEABLE;
  MPU_InitStruct.IsBufferable = MPU_ACCESS_NOT_BUFFERABLE;

  HAL_MPU_ConfigRegion(&MPU_InitStruct);

  /** Initializes and configures the Region and the memory to be protected
  */
  MPU_InitStruct.Number = MPU_REGION_NUMBER1;
  MPU_InitStruct.BaseAddress = 0x20000000;
  MPU_InitStruct.Size = MPU_REGION_SIZE_128MB;
  MPU_InitStruct.SubRegionDisable = 0xEE;
  MPU_InitStruct.AccessPermission = MPU_REGION_FULL_ACCESS;
  MPU_InitStruct.IsCacheable = MPU_ACCESS_NOT_CACHEABLE;

  HAL_MPU_ConfigRegion(&MPU_InitStruct);

  /** Initializes and configures the Region and the memory to be protected
  */
  MPU_InitStruct.Number = MPU_REGION_NUMBER2;
  HAL_MPU_ConfigRegion(&MPU_InitStruct);

  /** Initializes and configures the Region and the memory to be protected
  */
  MPU_InitStruct.Number = MPU_REGION_NUMBER3;
  HAL_MPU_ConfigRegion(&MPU_InitStruct);

  /** Initializes and configures the Region and the memory to be protected
  */
  MPU_InitStruct.Number = MPU_REGION_NUMBER4;
  HAL_MPU_ConfigRegion(&MPU_InitStruct);
  /* Enables the MPU */
  HAL_MPU_Enable(MPU_PRIVILEGED_DEFAULT);

}

void HAL_TIM_PeriodElapsedCallback(TIM_HandleTypeDef *htim)
{
  /* USER CODE BEGIN Callback 0 */
  static int i = 0;
  /* USER CODE END Callback 0 */
  if (htim->Instance == TIM23)
  {
    HAL_IncTick();
  }
  /* USER CODE BEGIN Callback 1 */
  uint8_t history = 4;
  if (htim->Instance == TIM13) // 1000HZ
  {
    // App_ImuStep();
  }
  else if (htim->Instance == TIM14) // 200Hz
  {
    if (i == 0)
    {
      HAL_GPIO_WritePin(Camera_ctrl_GPIO_Port, Camera_ctrl_Pin, GPIO_PIN_SET);
      // App_SendVisionTelemetry();
      i = 1;
    }
    else
    {
      HAL_GPIO_WritePin(Camera_ctrl_GPIO_Port, Camera_ctrl_Pin, GPIO_PIN_RESET);
      i = 0;
    }
  }
  /* USER CODE END Callback 1 */
}

void Error_Handler(void)
{
  __disable_irq();
  while (1)
  {
  }
}

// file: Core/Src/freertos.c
/* USER CODE BEGIN Header */
/**
 ******************************************************************************
 * File Name          : freertos.c
 * Description        : Code for freertos applications
 ******************************************************************************
 * @attention
 *
 * Copyright (c) 2025 STMicroelectronics.
 * All rights reserved.
 *
 * This software is licensed under terms that can be found in the LICENSE file
 * in the root directory of this software component.
 * If no LICENSE file comes with this software, it is provided AS-IS.
 *
 ******************************************************************************
 */
/* USER CODE END Header */

#include "FreeRTOS.h"
#include "task.h"
#include "main.h"
#include "cmsis_os.h"

/* USER CODE BEGIN Includes */
#include "stdlib.h"
#include "iwdg.h"
#include "Chassis_omni.h"
#include "Shoot.h"
#include "FSI6X.h"
#include "Global_status.h"
#include "remote_control.h"
#include "motor.h"
/* USER CODE END Includes */

/* Definitions for Remote_control */
osThreadId_t Remote_controlHandle;
const osThreadAttr_t Remote_control_attributes = {
    .name = "Remote_control",
    .stack_size = 512 * 4,
    .priority = (osPriority_t)osPriorityNormal,
};
/* Definitions for Gimbal */
osThreadId_t GimbalHandle;
const osThreadAttr_t Gimbal_attributes = {
    .name = "Gimbal",
    .stack_size = 512 * 4,
    .priority = (osPriority_t)osPriorityLow,
};
/* Definitions for Chassis */
osThreadId_t ChassisHandle;
const osThreadAttr_t Chassis_attributes = {
    .name = "Chassis",
    .stack_size = 1024 * 4,
    .priority = (osPriority_t)osPriorityLow,
};
/* Definitions for Motor_control */
osThreadId_t Motor_controlHandle;
const osThreadAttr_t Motor_control_attributes = {
    .name = "Motor_control",
    .stack_size = 256 * 4,
    .priority = (osPriority_t)osPriorityLow,
};
/* Definitions for Shoot */
osThreadId_t ShootHandle;
const osThreadAttr_t Shoot_attributes = {
    .name = "Shoot",
    .stack_size = 256 * 4,
    .priority = (osPriority_t)osPriorityLow,
};
/* Definitions for Referee */
osThreadId_t RefereeHandle;
const osThreadAttr_t Referee_attributes = {
    .name = "Referee",
    .stack_size = 512 * 4,
    .priority = (osPriority_t)osPriorityLow,
};
/* Definitions for Log_and_debug */
osThreadId_t Log_and_debugHandle;
const osThreadAttr_t Log_and_debug_attributes = {
    .name = "Log_and_debug",
    .stack_size = 256 * 4,
    .priority = (osPriority_t)osPriorityLow,
};

void Remote_control_Task(void *argument);
void Gimbal_Task(void *argument);
void Chassis_Task(void *argument);
void Motor_control_Task(void *argument);
void Shoot_Task(void *argument);
void Referee_Task(void *argument);
void Log_and_debug_Task(void *argument);

extern void MX_USB_DEVICE_Init(void);
void MX_FREERTOS_Init(void); /* (MISRA C 2004 rule 8.1) */

/* Hook prototypes */
void vApplicationIdleHook(void);

/* USER CODE BEGIN 2 */
void vApplicationIdleHook(void)
{
}
/* USER CODE END 2 */

void MX_FREERTOS_Init(void)
{

  /* Create the thread(s) */
  /* creation of Remote_control */
  Remote_controlHandle = osThreadNew(Remote_control_Task, NULL, &Remote_control_attributes);

  /* creation of Gimbal */
  GimbalHandle = osThreadNew(Gimbal_Task, NULL, &Gimbal_attributes);

  /* creation of Chassis */
  ChassisHandle = osThreadNew(Chassis_Task, NULL, &Chassis_attributes);

  /* creation of Motor_control */
  Motor_controlHandle = osThreadNew(Motor_control_Task, NULL, &Motor_control_attributes);

  /* creation of Shoot */
  ShootHandle = osThreadNew(Shoot_Task, NULL, &Shoot_attributes);

  /* creation of Referee */
  RefereeHandle = osThreadNew(Referee_Task, NULL, &Referee_attributes);

  /* creation of Log_and_debug */
  Log_and_debugHandle = osThreadNew(Log_and_debug_Task, NULL, &Log_and_debug_attributes);

}

void Remote_control_Task(void *argument)
{
  /* init code for USB_DEVICE */
  MX_USB_DEVICE_Init();
  /* USER CODE BEGIN Remote_control_Task */
  (void)argument;
  /* Infinite loop */
  for (;;)
  {
    osDelay(1);
    Remote_Tasks();
    osDelay(1);
  }
  /* USER CODE END Remote_control_Task */
}

void Gimbal_Task(void *argument)
{
  /* USER CODE BEGIN Gimbal_Task */
  (void)argument;
  /* Infinite loop */
  for (;;)
  {
    osDelay(1);
  }
  /* USER CODE END Gimbal_Task */
}

void Chassis_Task(void *argument)
{
  /* USER CODE BEGIN Chassis_Task */
  (void)argument;

  Chassis_Init();
  /* Infinite loop */
  for (;;)
  {
    Chassis_Tasks();
    osDelay(1);
  }
  /* USER CODE END Chassis_Task */
}

void Motor_control_Task(void *argument)
{
  /* USER CODE BEGIN Motor_control_Task */
  (void)argument;
  /* Infinite loop */
  for (;;)
  {
    if (Global.Control.mode != LOCK)
    {
      DJIMotor_SendCurrent(CAN_20063508_1_4_ID, DJI_CAN_2);
    }
    #if (USE_LZMotor == 1)
      LZMotor_send_command(LZ_CAN_1_1);
      LZMotor_send_command(LZ_CAN_1_2);
#endif
    if (Global.Chassis.input.reset != 1)
      HAL_IWDG_Refresh(&hiwdg1);
    osDelay(1);
  }
  /* USER CODE END Motor_control_Task */
}

void Shoot_Task(void *argument)
{
  /* USER CODE BEGIN Shoot_Task */
  (void)argument;
  Shoot_Init();
  /* Infinite loop */
  for (;;)
  {
    /* 1 ms 更新一次发射机构目标角和达妙 MIT 控制帧 */
    Shoot_Tasks();
    osDelay(1);
  }
  /* USER CODE END Shoot_Task */
}

void Referee_Task(void *argument)
{
  /* USER CODE BEGIN Referee_Task */
  (void)argument;
  /* Infinite loop */
  for (;;)
  {
    osDelay(1);
  }
  /* USER CODE END Referee_Task */
}

void Log_and_debug_Task(void *argument)
{
  /* USER CODE BEGIN Log_and_debug_Task */
  (void)argument;
  /* Infinite loop */
  for (;;)
  {
    osDelay(1);
  }
  /* USER CODE END Log_and_debug_Task */
}
